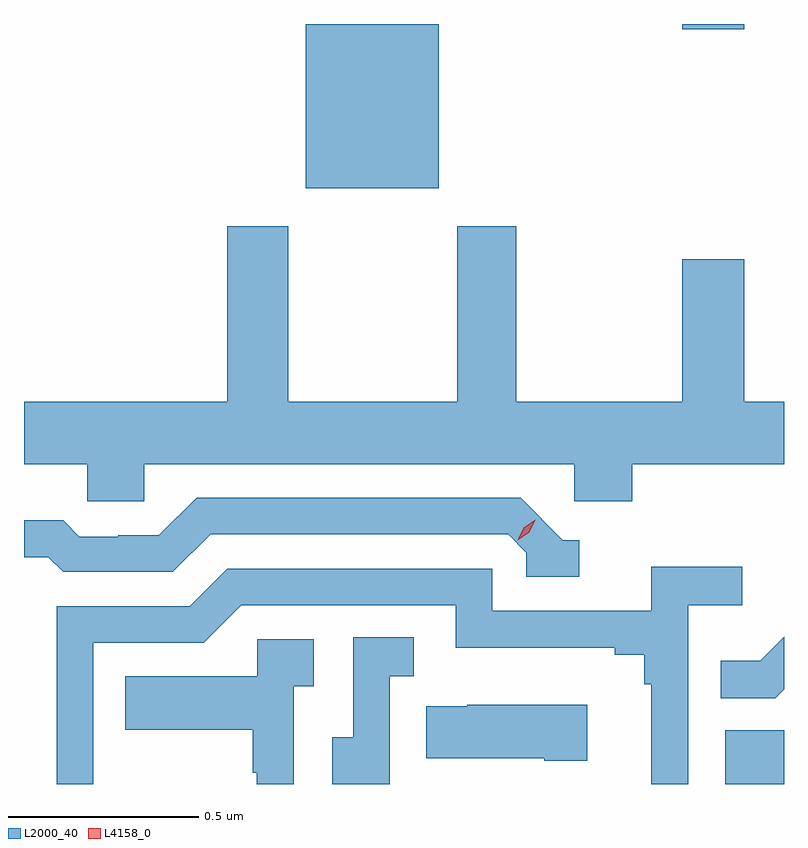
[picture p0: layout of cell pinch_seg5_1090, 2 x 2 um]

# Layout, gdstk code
import gdstk
lib = gdstk.Library(unit=1e-6, precision=1e-09)
def R(c, l, rs):  # rectangles x0, y0, x1, y1
    for r in rs: c.add(gdstk.rectangle(r[:2], r[2:], *l))
def P(c, l, *ps):  # polygons
    for p in ps: c.add(gdstk.Polygon(p, *l))
L2000_40 = (2000, 40)
L4158_0 = (4158, 0)

pinch_seg5_1090 = lib.new_cell('pinch_seg5_1090')
R(pinch_seg5_1090, L2000_40, [(836.45,854.586,836.604,854.727), (835.346,856.154,835.696,856.586), (836.336,856.572,836.5,856.586)])
P(pinch_seg5_1090, L2000_40, [(834.921,855.428),(836.052,855.428),(836.052,855.33),(836.204,855.33),(836.204,855.428),(836.604,855.428),(836.604,855.592),(836.5,855.592),(836.5,855.967),(836.336,855.967),(836.336,855.592),(835.899,855.592),(835.899,856.054),(835.744,856.054),(835.744,855.592),(835.299,855.592),(835.299,856.054),(835.139,856.054),(835.139,855.592),(834.604,855.592),(834.604,855.428),(834.771,855.428),(834.771,855.33),(834.921,855.33)],
  [(836.065,855.228),(836.022,855.228),(835.911,855.339),(835.058,855.339),(834.959,855.24),(834.852,855.24),(834.852,855.237),(834.749,855.237),(834.707,855.28),(834.604,855.28),(834.604,855.183),(834.668,855.183),(834.707,855.144),(834.996,855.144),(835.095,855.243),(835.878,855.243),(835.926,855.195),(835.926,855.132),(836.065,855.132)],
  [(834.786,854.958),(835.077,854.958),(835.176,855.057),(835.74,855.057),(835.74,854.945),(836.159,854.945),(836.159,854.926),(836.236,854.926),(836.236,854.849),(836.255,854.849),(836.255,854.586),(836.352,854.586),(836.352,855.056),(836.494,855.056),(836.494,855.158),(836.255,855.158),(836.255,855.042),(835.836,855.042),(835.836,855.153),(835.139,855.153),(835.04,855.054),(834.69,855.054),(834.69,854.586),(834.786,854.586)],
  [(836.604,854.835),(836.604,854.974),(836.541,854.911),(836.437,854.911),(836.437,854.812),(836.581,854.812)],
  [(835.566,854.869),(835.63,854.869),(835.63,854.972),(835.47,854.972),(835.47,854.709),(835.415,854.709),(835.415,854.586),(835.566,854.586)],
  [(835.314,854.843),(835.366,854.843),(835.366,854.967),(835.218,854.967),(835.218,854.869),(834.871,854.869),(834.871,854.729),(835.206,854.729),(835.206,854.615),(835.216,854.615),(835.216,854.586),(835.314,854.586)],
  [(836.086,854.794),(835.771,854.794),(835.771,854.791),(835.663,854.791),(835.663,854.654),(835.973,854.654),(835.973,854.647),(836.086,854.647)])
P(pinch_seg5_1090, L4158_0, [(835.903,855.228),(835.903,855.228),(835.919,855.261),(835.949,855.281),(835.95,855.281),(835.95,855.28),(835.934,855.248),(835.903,855.228)])

lib.write_gds('pinch_seg5_1090.gds')
